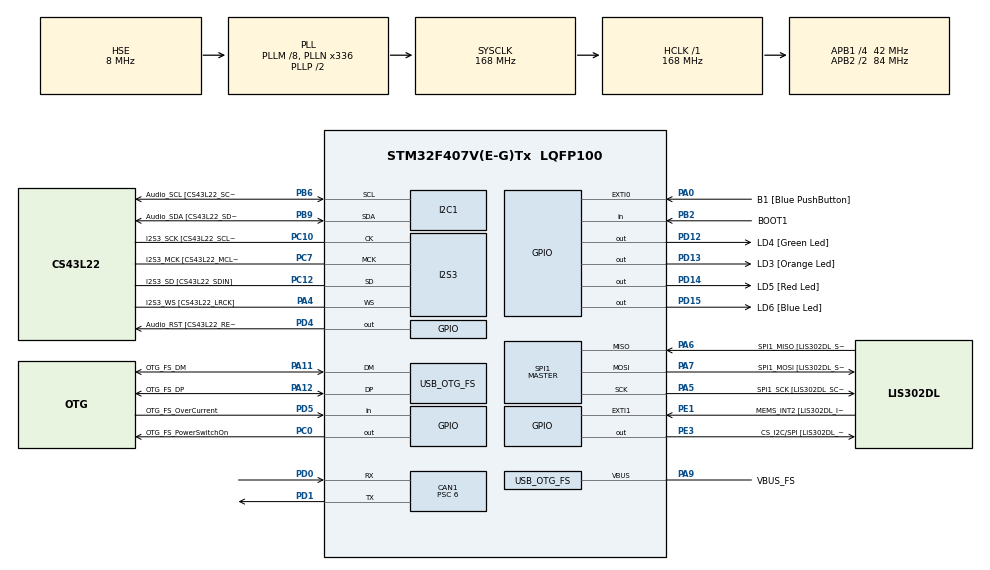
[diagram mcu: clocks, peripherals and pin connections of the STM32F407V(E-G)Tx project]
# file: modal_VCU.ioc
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CAN1.BS1=CAN_BS1_11TQ
CAN1.BS2=CAN_BS2_2TQ
CAN1.CalculateBaudRate=500000
CAN1.CalculateTimeBit=2000
CAN1.CalculateTimeQuantum=142.85714285714286
CAN1.NART=ENABLE
CAN1.Prescaler=6
FREERTOS.Tasks01=defaultTask,24,128,StartDefaultTask,Default,NULL,Dynamic,NULL,NULL
FREERTOS.configTOTAL_HEAP_SIZE=40960
I2S3.AudioFreq-Half_Duplex_Master=I2S_AUDIOFREQ_96K
I2S3.ErrorAudioFreq=-2.34 %
I2S3.ErrorAudioFreq-Half_Duplex_Master=0.8 %
I2S3.FullDuplexMode=I2S_FULLDUPLEXMODE_DISABLE
I2S3.Instance=SPI$Index
I2S3.RealAudioFreq=93.75 KHz
I2S3.RealAudioFreq-Half_Duplex_Master=96.774 KHz
I2S3.VirtualMode=I2S_MODE_MASTER
Mcu.Family=STM32F4
Mcu.Name=STM32F407V(E-G)Tx
Mcu.Package=LQFP100
NVIC.CAN1_RX0_IRQn=true\:5\:0\:false\:false\:true\:true\:true\:true\:true
NVIC.OTG_FS_IRQn=true\:5\:0\:false\:false\:true\:true\:true\:true\:true
NVIC.PriorityGroup=NVIC_PRIORITYGROUP_4
NVIC.TIM1_UP_TIM10_IRQn=true\:15\:0\:false\:false\:true\:false\:false\:true\:true
NVIC.TimeBase=TIM1_UP_TIM10_IRQn
NVIC.TimeBaseIP=TIM1
PA0-WKUP.GPIO_Label=B1 [Blue PushButton]
PA0-WKUP.GPIO_ModeDefaultEXTI=GPIO_MODE_EVT_RISING
PA0-WKUP.GPIO_PuPd=GPIO_NOPULL
PA0-WKUP.Signal=GPXTI0
PA10.GPIO_Label=OTG_FS_ID
PA10.GPIO_Mode=GPIO_MODE_AF_PP
PA10.GPIO_PuPd=GPIO_NOPULL
PA10.GPIO_Speed=GPIO_SPEED_FREQ_LOW
PA10.Signal=USB_OTG_FS_ID
PA11.GPIO_Label=OTG_FS_DM
PA11.GPIO_Mode=GPIO_MODE_AF_PP
PA11.GPIO_PuPd=GPIO_NOPULL
PA11.GPIO_Speed=GPIO_SPEED_FREQ_LOW
PA11.Mode=Host_Only
PA11.Signal=USB_OTG_FS_DM
PA12.GPIO_Label=OTG_FS_DP
PA12.GPIO_Mode=GPIO_MODE_AF_PP
PA12.GPIO_PuPd=GPIO_NOPULL
PA12.GPIO_Speed=GPIO_SPEED_FREQ_LOW
PA12.Mode=Host_Only
PA12.Signal=USB_OTG_FS_DP
PA13.GPIO_Label=SWDIO
PA13.Mode=Serial_Wire
PA13.Signal=SYS_JTMS-SWDIO
PA14.GPIO_Label=SWCLK
PA14.Mode=Serial_Wire
PA14.Signal=SYS_JTCK-SWCLK
PA4.GPIO_Label=I2S3_WS [CS43L22_LRCK]
PA4.GPIO_Mode=GPIO_MODE_AF_PP
PA4.GPIO_PuPd=GPIO_NOPULL
PA4.GPIO_Speed=GPIO_SPEED_FREQ_LOW
PA4.Mode=Half_Duplex_Master
PA4.Signal=I2S3_WS
PA5.GPIO_Label=SPI1_SCK [LIS302DL_SCL/SPC]
PA5.GPIO_Mode=GPIO_MODE_AF_PP
PA5.GPIO_PuPd=GPIO_NOPULL
PA5.GPIO_Speed=GPIO_SPEED_FREQ_LOW
PA5.Mode=Full_Duplex_Master
PA5.Signal=SPI1_SCK
PA6.GPIO_Label=SPI1_MISO [LIS302DL_SDO]
PA6.GPIO_Mode=GPIO_MODE_AF_PP
PA6.GPIO_PuPd=GPIO_NOPULL
PA6.GPIO_Speed=GPIO_SPEED_FREQ_LOW
PA6.Mode=Full_Duplex_Master
PA6.Signal=SPI1_MISO
PA7.GPIO_Label=SPI1_MOSI [LIS302DL_SDA/SDI/SDO]
PA7.GPIO_Mode=GPIO_MODE_AF_PP
PA7.GPIO_PuPd=GPIO_NOPULL
PA7.GPIO_Speed=GPIO_SPEED_FREQ_LOW
PA7.Mode=Full_Duplex_Master
PA7.Signal=SPI1_MOSI
PA9.GPIO_Label=VBUS_FS
PA9.GPIO_Mode=GPIO_MODE_INPUT
PA9.GPIO_PuPd=GPIO_NOPULL
PA9.Mode=Activate_VBUS
PA9.Signal=USB_OTG_FS_VBUS
PB10.GPIO_Label=CLK_IN [MP45DT02_CLK]
PB10.GPIO_Mode=GPIO_MODE_AF_PP
PB10.GPIO_PuPd=GPIO_NOPULL
PB10.GPIO_Speed=GPIO_SPEED_FREQ_LOW
PB10.Signal=I2S2_CK
PB2.GPIO_Label=BOOT1
PB2.GPIO_Mode=GPIO_MODE_INPUT
PB2.GPIO_PuPd=GPIO_NOPULL
PB2.Signal=GPIO_Input
PB3.GPIO_Label=SWO
PB3.Signal=SYS_JTDO-SWO
PB6.GPIO_Label=Audio_SCL [CS43L22_SCL]
PB6.GPIO_Mode=GPIO_MODE_AF_OD
PB6.GPIO_Pu=GPIO_PULLUP
PB6.GPIO_PuPd=GPIO_NOPULL
PB6.GPIO_Speed=GPIO_SPEED_FREQ_LOW
PB6.Mode=I2C
PB6.Signal=I2C1_SCL
PB9.GPIO_Label=Audio_SDA [CS43L22_SDA]
PB9.GPIO_Mode=GPIO_MODE_AF_OD
PB9.GPIO_Pu=GPIO_PULLUP
PB9.GPIO_PuPd=GPIO_NOPULL
PB9.GPIO_Speed=GPIO_SPEED_FREQ_LOW
PB9.Mode=I2C
PB9.Signal=I2C1_SDA
PC0.GPIO_Label=OTG_FS_PowerSwitchOn
PC0.GPIO_PuPd=GPIO_NOPULL
PC0.GPIO_Speed=GPIO_SPEED_FREQ_LOW
PC0.PinState=GPIO_PIN_SET
PC0.Signal=GPIO_Output
PC10.GPIO_Label=I2S3_SCK [CS43L22_SCLK]
PC10.GPIO_Mode=GPIO_MODE_AF_PP
PC10.GPIO_PuPd=GPIO_NOPULL
PC10.GPIO_Speed=GPIO_SPEED_FREQ_LOW
PC10.Mode=Half_Duplex_Master
PC10.Signal=I2S3_CK
PC12.GPIO_Label=I2S3_SD [CS43L22_SDIN]
PC12.GPIO_Mode=GPIO_MODE_AF_PP
PC12.GPIO_PuPd=GPIO_NOPULL
PC12.GPIO_Speed=GPIO_SPEED_FREQ_LOW
PC12.Mode=Half_Duplex_Master
PC12.Signal=I2S3_SD
PC14-OSC32_IN.GPIO_Label=PC14-OSC32_IN
PC14-OSC32_IN.Mode=LSE-External-Oscillator
PC14-OSC32_IN.Signal=RCC_OSC32_IN
PC15-OSC32_OUT.GPIO_Label=PC15-OSC32_OUT
PC15-OSC32_OUT.Mode=LSE-External-Oscillator
PC15-OSC32_OUT.Signal=RCC_OSC32_OUT
PC3.GPIO_Label=PDM_OUT [MP45DT02_DOUT]
PC3.GPIO_Mode=GPIO_MODE_AF_PP
PC3.GPIO_PuPd=GPIO_NOPULL
PC3.GPIO_Speed=GPIO_SPEED_FREQ_LOW
PC3.Signal=I2S2_SD
PC7.GPIO_Label=I2S3_MCK [CS43L22_MCLK]
PC7.GPIO_Mode=GPIO_MODE_AF_PP
PC7.GPIO_PuPd=GPIO_NOPULL
PC7.GPIO_Speed=GPIO_SPEED_FREQ_LOW
PC7.Mode=Master_Clock_Activated
PC7.Signal=I2S3_MCK
PD0.Mode=CAN_Activate
PD0.Signal=CAN1_RX
PD1.Mode=CAN_Activate
PD1.Signal=CAN1_TX
PD12.GPIO_Label=LD4 [Green Led]
PD12.GPIO_PuPd=GPIO_NOPULL
PD12.GPIO_Speed=GPIO_SPEED_FREQ_LOW
PD12.Signal=GPIO_Output
PD13.GPIO_Label=LD3 [Orange Led]
PD13.GPIO_PuPd=GPIO_NOPULL
PD13.GPIO_Speed=GPIO_SPEED_FREQ_LOW
PD13.Signal=GPIO_Output
PD14.GPIO_Label=LD5 [Red Led]
PD14.GPIO_PuPd=GPIO_NOPULL
PD14.GPIO_Speed=GPIO_SPEED_FREQ_LOW
PD14.Signal=GPIO_Output
PD15.GPIO_Label=LD6 [Blue Led]
PD15.GPIO_PuPd=GPIO_NOPULL
PD15.GPIO_Speed=GPIO_SPEED_FREQ_LOW
PD15.Signal=GPIO_Output
PD4.GPIO_Label=Audio_RST [CS43L22_RESET]
PD4.GPIO_PuPd=GPIO_NOPULL
PD4.GPIO_Speed=GPIO_SPEED_FREQ_LOW
PD4.Signal=GPIO_Output
PD5.GPIO_Label=OTG_FS_OverCurrent
PD5.GPIO_Mode=GPIO_MODE_INPUT
PD5.GPIO_PuPd=GPIO_NOPULL
PD5.Signal=GPIO_Input
PE1.GPIO_Label=MEMS_INT2 [LIS302DL_INT2]
PE1.GPIO_ModeDefaultEXTI=GPIO_MODE_EVT_RISING
PE1.GPIO_PuPd=GPIO_NOPULL
PE1.Signal=GPXTI1
PE3.GPIO_Label=CS_I2C/SPI [LIS302DL_CS_I2C/SPI]
PE3.GPIO_PuPd=GPIO_NOPULL
PE3.GPIO_Speed=GPIO_SPEED_FREQ_LOW
PE3.Signal=GPIO_Output
PH0-OSC_IN.GPIO_Label=PH0-OSC_IN
PH0-OSC_IN.Mode=HSE-External-Oscillator
PH0-OSC_IN.Signal=RCC_OSC_IN
PH1-OSC_OUT.GPIO_Label=PH1-OSC_OUT
PH1-OSC_OUT.Mode=HSE-External-Oscillator
PH1-OSC_OUT.Signal=RCC_OSC_OUT
ProjectManager.HeapSize=0x200
ProjectManager.StackSize=0x400
ProjectManager.TargetToolchain=Makefile
RCC.48MHZClocksFreq_Value=48000000
RCC.AHBFreq_Value=168000000
RCC.APB1CLKDivider=RCC_HCLK_DIV4
RCC.APB1Freq_Value=42000000
RCC.APB1TimFreq_Value=84000000
RCC.APB2CLKDivider=RCC_HCLK_DIV2
RCC.APB2Freq_Value=84000000
RCC.APB2TimFreq_Value=168000000
RCC.CortexFreq_Value=168000000
RCC.HCLKFreq_Value=168000000
RCC.HSE_VALUE=8000000
RCC.HSI_VALUE=16000000
RCC.PLLM=8
RCC.PLLN=336
RCC.PLLQ=7
RCC.SYSCLKFreq_VALUE=168000000
RCC.SYSCLKSource=RCC_SYSCLKSOURCE_PLLCLK
RCC.VCOOutputFreq_Value=336000000
SPI1.BaudRatePrescaler-Full_Duplex_Master=SPI_BAUDRATEPRESCALER_2
SPI1.CalculateBaudRate-Full_Duplex_Master=42.0 MBits/s
SPI1.Direction=SPI_DIRECTION_2LINES
SPI1.Mode=SPI_MODE_MASTER
SPI1.Mode-Full_Duplex_Master=SPI_MODE_MASTER
SPI1.VirtualType=VM_MASTER
USB_HOST.BSP.number=1
USB_HOST.USBH_HandleTypeDef-CDC_FS=hUsbHostFS
USB_HOST.VirtualModeFS=Cdc
USB_HOST0.BSP.STBoard=false
USB_HOST0.BSP.api=Unknown
USB_HOST0.BSP.instance=PC0
USB_HOST0.BSP.ip=GPIO
USB_HOST0.BSP.mode=Output
USB_HOST0.BSP.name=Drive_VBUS_FS
USB_HOST0.BSP.solution=PC0
USB_OTG_FS.VirtualMode=Host_Only
USB_OTG_FS.phy_itface=HCD_PHY_EMBEDDED
VP_FREERTOS_VS_CMSIS_V2.Mode=CMSIS_V2
VP_SYS_VS_tim1.Mode=TIM1
VP_USB_HOST_VS_USB_HOST_CDC_FS.Mode=CDC_FS
board=STM32F407G-DISC1

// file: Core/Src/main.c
/* USER CODE BEGIN Header */
/**
  ******************************************************************************
  * @file           : main.c
  * @brief          : Main program body
  ******************************************************************************
  * @attention
  *
  * Copyright (c) 2026 STMicroelectronics.
  * All rights reserved.
  *
  * This software is licensed under terms that can be found in the LICENSE file
  * in the root directory of this software component.
  * If no LICENSE file comes with this software, it is provided AS-IS.
  *
  ******************************************************************************
  */
/* USER CODE END Header */
#include "main.h"
#include "cmsis_os.h"
#include "usb_host.h"

/* USER CODE BEGIN Includes */
#include "vcu.h"
#include "canOpen.h"
/* USER CODE END Includes */

CAN_HandleTypeDef hcan1;

I2C_HandleTypeDef hi2c1;

I2S_HandleTypeDef hi2s3;

SPI_HandleTypeDef hspi1;

/* Definitions for defaultTask */
osThreadId_t defaultTaskHandle;
const osThreadAttr_t defaultTask_attributes = {
  .name = "defaultTask",
  .stack_size = 128 * 4,
  .priority = (osPriority_t) osPriorityNormal,
};
/* USER CODE BEGIN PV */
CAN_TxHeaderTypeDef can_tx_header;
uint8_t can_tx_data[6] = {0x01, 0x02, 0x03, 0x04, 0x05, 0x06};
uint32_t can_tx_mailbox;

/* Test CAN RX - for verifying reception of ID 0x201 */
#define TEST_CAN_RX_ID  0x201
volatile uint8_t testRxData[8] = {0};
volatile uint8_t testRxDlc = 0;
volatile uint8_t testRxNewFlag = 0;
/* USER CODE END PV */

void SystemClock_Config(void);
static void MX_GPIO_Init(void);
static void MX_CAN1_Init(void);
static void MX_I2C1_Init(void);
static void MX_I2S3_Init(void);
static void MX_SPI1_Init(void);
void StartDefaultTask(void *argument);

int main(void)
{

  /* MCU Configuration--------------------------------------------------------*/

  /* Reset of all peripherals, Initializes the Flash interface and the Systick. */
  HAL_Init();

  /* Configure the system clock */
  SystemClock_Config();

  /* Initialize all configured peripherals */
  MX_GPIO_Init();
  MX_CAN1_Init();
  MX_I2C1_Init();
  MX_I2S3_Init();
  MX_SPI1_Init();
  /* USER CODE BEGIN 2 */
  /* Configure CAN filter - accept all messages */
  CAN_FilterTypeDef can_filter;
  can_filter.FilterBank = 0;
  can_filter.FilterMode = CAN_FILTERMODE_IDMASK;
  can_filter.FilterScale = CAN_FILTERSCALE_32BIT;
  can_filter.FilterIdHigh = 0x0000;
  can_filter.FilterIdLow = 0x0000;
  can_filter.FilterMaskIdHigh = 0x0000;
  can_filter.FilterMaskIdLow = 0x0000;
  can_filter.FilterFIFOAssignment = CAN_RX_FIFO0;
  can_filter.FilterActivation = ENABLE;
  if (HAL_CAN_ConfigFilter(&hcan1, &can_filter) != HAL_OK)
  {
    Error_Handler();
  }

  /* Start CAN */
  if (HAL_CAN_Start(&hcan1) != HAL_OK)
  {
    Error_Handler();
  }

  /* Enable CAN RX FIFO0 message pending interrupt */
  if (HAL_CAN_ActivateNotification(&hcan1, CAN_IT_RX_FIFO0_MSG_PENDING) != HAL_OK)
  {
    Error_Handler();
  }

  /* Configure TX header */
  can_tx_header.StdId = 0x123;
  can_tx_header.ExtId = 0;
  can_tx_header.IDE = CAN_ID_STD;
  can_tx_header.RTR = CAN_RTR_DATA;
  can_tx_header.DLC = 6;
  can_tx_header.TransmitGlobalTime = DISABLE;

  /* USER CODE END 2 */

  /* Init scheduler */
  osKernelInitialize();

  /* Initialize CANopen SDO layer (semaphore for SDO_Read) */
  SDO_Init();

  /* Create the thread(s) */
  /* creation of defaultTask */
  defaultTaskHandle = osThreadNew(StartDefaultTask, NULL, &defaultTask_attributes);

  /* Start scheduler */
  osKernelStart();

  /* We should never get here as control is now taken by the scheduler */

  /* Infinite loop */
  while (1)
  {

  }
}

void SystemClock_Config(void)
{
  RCC_OscInitTypeDef RCC_OscInitStruct = {0};
  RCC_ClkInitTypeDef RCC_ClkInitStruct = {0};

  /** Configure the main internal regulator output voltage
  */
  __HAL_RCC_PWR_CLK_ENABLE();
  __HAL_PWR_VOLTAGESCALING_CONFIG(PWR_REGULATOR_VOLTAGE_SCALE1);

  /** Initializes the RCC Oscillators according to the specified parameters
  * in the RCC_OscInitTypeDef structure.
  */
  RCC_OscInitStruct.OscillatorType = RCC_OSCILLATORTYPE_HSE;
  RCC_OscInitStruct.HSEState = RCC_HSE_ON;
  RCC_OscInitStruct.PLL.PLLState = RCC_PLL_ON;
  RCC_OscInitStruct.PLL.PLLSource = RCC_PLLSOURCE_HSE;
  RCC_OscInitStruct.PLL.PLLM = 8;
  RCC_OscInitStruct.PLL.PLLN = 336;
  RCC_OscInitStruct.PLL.PLLP = RCC_PLLP_DIV2;
  RCC_OscInitStruct.PLL.PLLQ = 7;
  if (HAL_RCC_OscConfig(&RCC_OscInitStruct) != HAL_OK)
  {
    Error_Handler();
  }

  /** Initializes the CPU, AHB and APB buses clocks
  */
  RCC_ClkInitStruct.ClockType = RCC_CLOCKTYPE_HCLK|RCC_CLOCKTYPE_SYSCLK
                              |RCC_CLOCKTYPE_PCLK1|RCC_CLOCKTYPE_PCLK2;
  RCC_ClkInitStruct.SYSCLKSource = RCC_SYSCLKSOURCE_PLLCLK;
  RCC_ClkInitStruct.AHBCLKDivider = RCC_SYSCLK_DIV1;
  RCC_ClkInitStruct.APB1CLKDivider = RCC_HCLK_DIV4;
  RCC_ClkInitStruct.APB2CLKDivider = RCC_HCLK_DIV2;

  if (HAL_RCC_ClockConfig(&RCC_ClkInitStruct, FLASH_LATENCY_5) != HAL_OK)
  {
    Error_Handler();
  }
}

static void MX_CAN1_Init(void)
{

  hcan1.Instance = CAN1;
  hcan1.Init.Prescaler = 6;
  hcan1.Init.Mode = CAN_MODE_NORMAL;
  hcan1.Init.SyncJumpWidth = CAN_SJW_1TQ;
  hcan1.Init.TimeSeg1 = CAN_BS1_11TQ;
  hcan1.Init.TimeSeg2 = CAN_BS2_2TQ;
  hcan1.Init.TimeTriggeredMode = DISABLE;
  hcan1.Init.AutoBusOff = DISABLE;
  hcan1.Init.AutoWakeUp = DISABLE;
  hcan1.Init.AutoRetransmission = ENABLE;
  hcan1.Init.ReceiveFifoLocked = DISABLE;
  hcan1.Init.TransmitFifoPriority = DISABLE;
  if (HAL_CAN_Init(&hcan1) != HAL_OK)
  {
    Error_Handler();
  }

}

static void MX_I2C1_Init(void)
{

  hi2c1.Instance = I2C1;
  hi2c1.Init.ClockSpeed = 100000;
  hi2c1.Init.DutyCycle = I2C_DUTYCYCLE_2;
  hi2c1.Init.OwnAddress1 = 0;
  hi2c1.Init.AddressingMode = I2C_ADDRESSINGMODE_7BIT;
  hi2c1.Init.DualAddressMode = I2C_DUALADDRESS_DISABLE;
  hi2c1.Init.OwnAddress2 = 0;
  hi2c1.Init.GeneralCallMode = I2C_GENERALCALL_DISABLE;
  hi2c1.Init.NoStretchMode = I2C_NOSTRETCH_DISABLE;
  if (HAL_I2C_Init(&hi2c1) != HAL_OK)
  {
    Error_Handler();
  }

}

static void MX_I2S3_Init(void)
{

  hi2s3.Instance = SPI3;
  hi2s3.Init.Mode = I2S_MODE_MASTER_TX;
  hi2s3.Init.Standard = I2S_STANDARD_PHILIPS;
  hi2s3.Init.DataFormat = I2S_DATAFORMAT_16B;
  hi2s3.Init.MCLKOutput = I2S_MCLKOUTPUT_ENABLE;
  hi2s3.Init.AudioFreq = I2S_AUDIOFREQ_96K;
  hi2s3.Init.CPOL = I2S_CPOL_LOW;
  hi2s3.Init.ClockSource = I2S_CLOCK_PLL;
  hi2s3.Init.FullDuplexMode = I2S_FULLDUPLEXMODE_DISABLE;
  if (HAL_I2S_Init(&hi2s3) != HAL_OK)
  {
    Error_Handler();
  }

}

static void MX_SPI1_Init(void)
{

  /* SPI1 parameter configuration*/
  hspi1.Instance = SPI1;
  hspi1.Init.Mode = SPI_MODE_MASTER;
  hspi1.Init.Direction = SPI_DIRECTION_2LINES;
  hspi1.Init.DataSize = SPI_DATASIZE_8BIT;
  hspi1.Init.CLKPolarity = SPI_POLARITY_LOW;
  hspi1.Init.CLKPhase = SPI_PHASE_1EDGE;
  hspi1.Init.NSS = SPI_NSS_SOFT;
  hspi1.Init.BaudRatePrescaler = SPI_BAUDRATEPRESCALER_2;
  hspi1.Init.FirstBit = SPI_FIRSTBIT_MSB;
  hspi1.Init.TIMode = SPI_TIMODE_DISABLE;
  hspi1.Init.CRCCalculation = SPI_CRCCALCULATION_DISABLE;
  hspi1.Init.CRCPolynomial = 10;
  if (HAL_SPI_Init(&hspi1) != HAL_OK)
  {
    Error_Handler();
  }

}

static void MX_GPIO_Init(void)
{
  GPIO_InitTypeDef GPIO_InitStruct = {0};

  /* GPIO Ports Clock Enable */
  __HAL_RCC_GPIOE_CLK_ENABLE();
  __HAL_RCC_GPIOC_CLK_ENABLE();
  __HAL_RCC_GPIOH_CLK_ENABLE();
  __HAL_RCC_GPIOA_CLK_ENABLE();
  __HAL_RCC_GPIOB_CLK_ENABLE();
  __HAL_RCC_GPIOD_CLK_ENABLE();

  /*Configure GPIO pin Output Level */
  HAL_GPIO_WritePin(CS_I2C_SPI_GPIO_Port, CS_I2C_SPI_Pin, GPIO_PIN_RESET);

  /*Configure GPIO pin Output Level */
  HAL_GPIO_WritePin(OTG_FS_PowerSwitchOn_GPIO_Port, OTG_FS_PowerSwitchOn_Pin, GPIO_PIN_SET);

  /*Configure GPIO pin Output Level */
  HAL_GPIO_WritePin(GPIOD, LD4_Pin|LD3_Pin|LD5_Pin|LD6_Pin
                          |Audio_RST_Pin, GPIO_PIN_RESET);

  /*Configure GPIO pin : CS_I2C_SPI_Pin */
  GPIO_InitStruct.Pin = CS_I2C_SPI_Pin;
  GPIO_InitStruct.Mode = GPIO_MODE_OUTPUT_PP;
  GPIO_InitStruct.Pull = GPIO_NOPULL;
  GPIO_InitStruct.Speed = GPIO_SPEED_FREQ_LOW;
  HAL_GPIO_Init(CS_I2C_SPI_GPIO_Port, &GPIO_InitStruct);

  /*Configure GPIO pin : OTG_FS_PowerSwitchOn_Pin */
  GPIO_InitStruct.Pin = OTG_FS_PowerSwitchOn_Pin;
  GPIO_InitStruct.Mode = GPIO_MODE_OUTPUT_PP;
  GPIO_InitStruct.Pull = GPIO_NOPULL;
  GPIO_InitStruct.Speed = GPIO_SPEED_FREQ_LOW;
  HAL_GPIO_Init(OTG_FS_PowerSwitchOn_GPIO_Port, &GPIO_InitStruct);

  /*Configure GPIO pin : PDM_OUT_Pin */
  GPIO_InitStruct.Pin = PDM_OUT_Pin;
  GPIO_InitStruct.Mode = GPIO_MODE_AF_PP;
  GPIO_InitStruct.Pull = GPIO_NOPULL;
  GPIO_InitStruct.Speed = GPIO_SPEED_FREQ_LOW;
  GPIO_InitStruct.Alternate = GPIO_AF5_SPI2;
  HAL_GPIO_Init(PDM_OUT_GPIO_Port, &GPIO_InitStruct);

  /*Configure GPIO pin : B1_Pin */
  GPIO_InitStruct.Pin = B1_Pin;
  GPIO_InitStruct.Mode = GPIO_MODE_EVT_RISING;
  GPIO_InitStruct.Pull = GPIO_NOPULL;
  HAL_GPIO_Init(B1_GPIO_Port, &GPIO_InitStruct);

  /*Configure GPIO pin : BOOT1_Pin */
  GPIO_InitStruct.Pin = BOOT1_Pin;
  GPIO_InitStruct.Mode = GPIO_MODE_INPUT;
  GPIO_InitStruct.Pull = GPIO_NOPULL;
  HAL_GPIO_Init(BOOT1_GPIO_Port, &GPIO_InitStruct);

  /*Configure GPIO pin : CLK_IN_Pin */
  GPIO_InitStruct.Pin = CLK_IN_Pin;
  GPIO_InitStruct.Mode = GPIO_MODE_AF_PP;
  GPIO_InitStruct.Pull = GPIO_NOPULL;
  GPIO_InitStruct.Speed = GPIO_SPEED_FREQ_LOW;
  GPIO_InitStruct.Alternate = GPIO_AF5_SPI2;
  HAL_GPIO_Init(CLK_IN_GPIO_Port, &GPIO_InitStruct);

  /*Configure GPIO pins : LD4_Pin LD3_Pin LD5_Pin LD6_Pin
                           Audio_RST_Pin */
  GPIO_InitStruct.Pin = LD4_Pin|LD3_Pin|LD5_Pin|LD6_Pin
                          |Audio_RST_Pin;
  GPIO_InitStruct.Mode = GPIO_MODE_OUTPUT_PP;
  GPIO_InitStruct.Pull = GPIO_NOPULL;
  GPIO_InitStruct.Speed = GPIO_SPEED_FREQ_LOW;
  HAL_GPIO_Init(GPIOD, &GPIO_InitStruct);

  /*Configure GPIO pin : OTG_FS_OverCurrent_Pin */
  GPIO_InitStruct.Pin = OTG_FS_OverCurrent_Pin;
  GPIO_InitStruct.Mode = GPIO_MODE_INPUT;
  GPIO_InitStruct.Pull = GPIO_NOPULL;
  HAL_GPIO_Init(OTG_FS_OverCurrent_GPIO_Port, &GPIO_InitStruct);

  /*Configure GPIO pin : MEMS_INT2_Pin */
  GPIO_InitStruct.Pin = MEMS_INT2_Pin;
  GPIO_InitStruct.Mode = GPIO_MODE_EVT_RISING;
  GPIO_InitStruct.Pull = GPIO_NOPULL;
  HAL_GPIO_Init(MEMS_INT2_GPIO_Port, &GPIO_InitStruct);

}

/* USER CODE BEGIN 4 */
/**
  * @brief  CAN RX FIFO0 message pending callback.
  *         Dispatches to SDO layer and test RX handler.
  */
void HAL_CAN_RxFifo0MsgPendingCallback(CAN_HandleTypeDef *hcan)
{
  CAN_RxHeaderTypeDef rxHeader;
  uint8_t rxData[8];

  if (HAL_CAN_GetRxMessage(hcan, CAN_RX_FIFO0, &rxHeader, rxData) == HAL_OK)
  {
    if (rxHeader.IDE == CAN_ID_STD)
    {
      /* Forward to CANopen SDO layer for response processing */
      SDO_ProcessRxMessage(rxHeader.StdId, rxData, rxHeader.DLC);

      /* Forward to VCU for application-level message processing */
      VCU_ProcessRxMessage(rxHeader.StdId, rxData, rxHeader.DLC);

      /* Test: capture ID 0x201 */
      if (rxHeader.StdId == TEST_CAN_RX_ID)
      {
        for (uint8_t i = 0; i < rxHeader.DLC; i++)
        {
          testRxData[i] = rxData[i];
        }
        testRxDlc = rxHeader.DLC;
        testRxNewFlag = 1;

        HAL_GPIO_TogglePin(LD3_GPIO_Port, LD3_Pin);
      }
    }
  }
}
/* USER CODE END 4 */

void StartDefaultTask(void *argument)
{
  /* init code for USB_HOST */
  MX_USB_HOST_Init();
  /* USER CODE BEGIN 5 */

  /* Initialize VCU (steering homing) - must run in task context */
  initVCU();

  /* Infinite loop */
  for(;;)
  {
    if (HAL_CAN_GetTxMailboxesFreeLevel(&hcan1) > 0)
    {
      if (HAL_CAN_AddTxMessage(&hcan1, &can_tx_header, can_tx_data, &can_tx_mailbox) == HAL_OK)
      {
        HAL_GPIO_TogglePin(LD4_GPIO_Port, LD4_Pin);  /* Green LED toggle on TX success */
      }
      else
      {
        HAL_GPIO_WritePin(LD5_GPIO_Port, LD5_Pin, GPIO_PIN_SET);  /* Red LED on TX error */
      }
    }
    osDelay(500);
  }
  /* USER CODE END 5 */
}

void HAL_TIM_PeriodElapsedCallback(TIM_HandleTypeDef *htim)
{
  if (htim->Instance == TIM1)
  {
    HAL_IncTick();
  }
}

void Error_Handler(void)
{
  __disable_irq();
  while (1)
  {
  }
}
